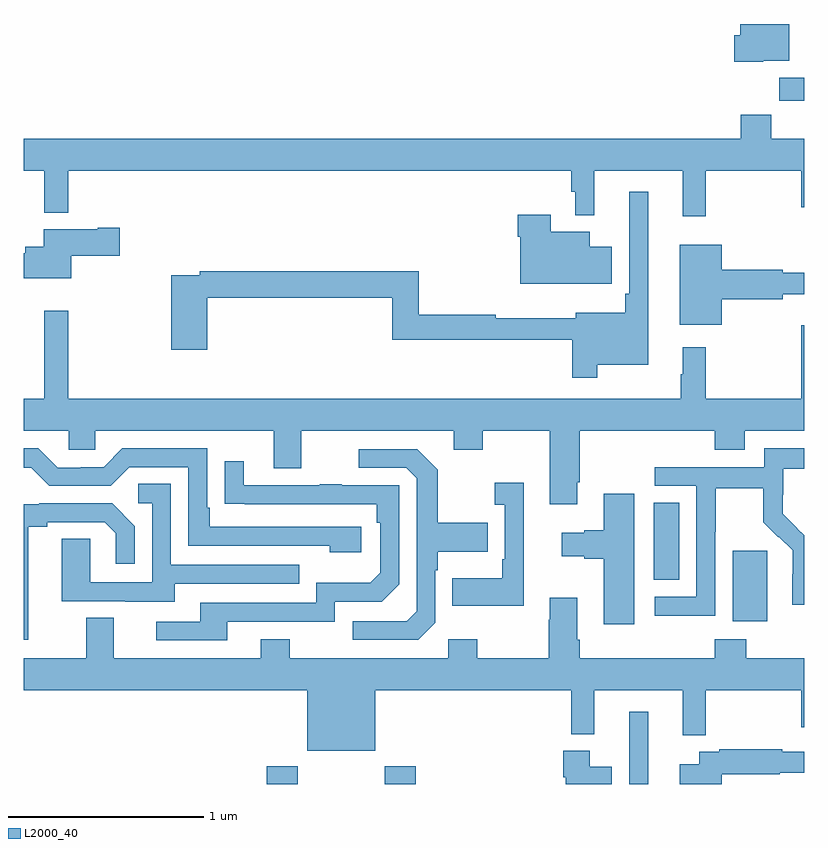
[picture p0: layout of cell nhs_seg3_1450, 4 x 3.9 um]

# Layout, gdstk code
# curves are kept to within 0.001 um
import gdstk
lib = gdstk.Library(unit=1e-6, precision=1e-09)
def R(c, l, rs):  # rectangles x0, y0, x1, y1
    for r in rs: c.add(gdstk.rectangle(r[:2], r[2:], *l))
def P(c, l, *ps):  # polygons
    for p in ps: c.add(gdstk.Polygon(p, *l))
L2000_40 = (2000, 40)

nhs_seg3_1450 = lib.new_cell('nhs_seg3_1450')
R(nhs_seg3_1450, L2000_40, [(186.245,736.4,186.405,736.492), (186.85,736.4,187.01,736.492), (188.103,736.4,188.2,736.771), (188.633,737.234,188.812,737.595), (188.228,737.446,188.359,737.843), (188.872,739.902,189,740.02)])
P(nhs_seg3_1450, L2000_40, [(188.79,740.108),(188.923,740.108),(188.923,740.296),(188.672,740.296),(188.672,740.238),(188.642,740.238),(188.642,740.102),(188.79,740.102)],
  [(188.495,739.544),(188.984,739.544),(188.984,739.356),(189,739.356),(189,739.708),(188.831,739.708),(188.831,739.832),(188.675,739.832),(188.675,739.708),(185,739.708),(185,739.544),(185.105,739.544),(185.105,739.328),(185.227,739.328),(185.227,739.544),(187.807,739.544),(187.807,739.437),(187.827,739.437),(187.827,739.316),(187.925,739.316),(187.925,739.544),(188.378,739.544),(188.378,739.311),(188.495,739.311)],
  [(187.939,738.548),(188.2,738.548),(188.2,739.435),(188.103,739.435),(188.103,738.913),(188.083,738.913),(188.083,738.817),(187.829,738.817),(187.829,738.787),(187.418,738.787),(187.418,738.806),(187.025,738.806),(187.025,739.028),(185.902,739.028),(185.902,739.008),(185.756,739.008),(185.756,738.627),(185.939,738.627),(185.939,738.892),(186.889,738.892),(186.889,738.678),(187.81,738.678),(187.81,738.483),(187.939,738.483)],
  [(188.014,739.153),(187.9,739.153),(187.9,739.231),(187.702,739.231),(187.702,739.318),(187.532,739.318),(187.532,739.205),(187.544,739.205),(187.544,738.965),(188.014,738.965)],
  [(185.242,739.109),(185.491,739.109),(185.491,739.251),(185.378,739.251),(185.378,739.243),(185.102,739.243),(185.102,739.153),(185.006,739.153),(185.006,739.121),(185,739.121),(185,738.992),(185.242,738.992)],
  [(188.578,738.884),(188.89,738.884),(188.89,738.911),(189,738.911),(189,739.021),(188.89,739.021),(188.89,739.036),(188.578,739.036),(188.578,739.165),(188.363,739.165),(188.363,738.755),(188.578,738.755)],
  [(187.837,737.947),(187.85,737.947),(187.85,738.212),(188.543,738.212),(188.543,738.113),(188.695,738.113),(188.695,738.212),(189,738.212),(189,738.751),(188.984,738.751),(188.984,738.376),(188.495,738.376),(188.495,738.64),(188.378,738.64),(188.378,738.5),(188.367,738.5),(188.367,738.376),(185.227,738.376),(185.227,738.826),(185.105,738.826),(185.105,738.376),(185,738.376),(185,738.212),(185.229,738.212),(185.229,738.114),(185.367,738.114),(185.367,738.212),(186.281,738.212),(186.281,738.018),(186.421,738.018),(186.421,738.212),(187.205,738.212),(187.205,738.113),(187.353,738.113),(187.353,738.212),(187.697,738.212),(187.697,737.835),(187.837,737.835)],
  [(186.73,737.718),(185.953,737.718),(185.953,737.815),(185.94,737.815),(185.94,738.12),(185.505,738.12),(185.409,738.024),(185.291,738.024),(185.291,738.021),(185.175,738.021),(185.075,738.121),(185,738.121),(185,738.021),(185.037,738.021),(185.13,737.928),(185.445,737.928),(185.541,738.024),(185.844,738.024),(185.844,737.622),(186.569,737.622),(186.569,737.588),(186.73,737.588)],
  [(188.544,737.692),(188.547,737.692),(188.547,737.916),(188.791,737.916),(188.791,737.741),(188.868,737.664),(188.871,737.667),(188.942,737.597),(188.942,737.474),(188.94,737.474),(188.94,737.32),(189,737.32),(189,737.674),(188.89,737.786),(188.89,737.883),(188.892,737.883),(188.892,738.017),(189,738.017),(189,738.121),(188.796,738.121),(188.796,738.024),(188.235,738.024),(188.235,737.928),(188.448,737.928),(188.448,737.361),(188.235,737.361),(188.235,737.263),(188.544,737.263)],
  [(187.11,737.226),(187.11,737.495),(187.123,737.495),(187.123,737.591),(187.379,737.591),(187.379,737.739),(187.123,737.739),(187.123,738.011),(187.017,738.117),(186.717,738.117),(186.717,738.021),(186.96,738.021),(187.014,737.967),(187.014,737.286),(186.963,737.235),(186.687,737.235),(186.687,737.139),(187.023,737.139)],
  [(186.043,737.232),(186.594,737.232),(186.594,737.334),(186.834,737.334),(186.924,737.424),(186.924,737.931),(186.629,737.931),(186.629,737.936),(186.517,737.936),(186.517,737.931),(186.127,737.931),(186.127,738.055),(186.031,738.055),(186.031,737.836),(186.808,737.835),(186.808,737.738),(186.828,737.738),(186.828,737.484),(186.775,737.431),(186.498,737.431),(186.498,737.328),(185.903,737.328),(185.903,737.232),(185.679,737.232),(185.679,737.136),(186.043,737.136)],
  [(187.562,737.944),(187.413,737.944),(187.413,737.831),(187.464,737.831),(187.464,737.551),(187.452,737.551),(187.452,737.455),(187.195,737.455),(187.195,737.315),(187.562,737.315)],
  [(185.773,737.427),(186.413,737.427),(186.413,737.523),(185.754,737.523),(185.754,737.939),(185.586,737.939),(185.586,737.838),(185.658,737.838),(185.658,737.433),(185.34,737.433),(185.34,737.657),(185.195,737.657),(185.195,737.337),(185.519,737.337),(185.519,737.333),(185.773,737.333)],
  [(188.128,737.887),(187.973,737.887),(187.973,737.702),(187.874,737.702),(187.874,737.689),(187.758,737.689),(187.758,737.567),(187.874,737.567),(187.874,737.555),(187.973,737.555),(187.973,737.22),(188.128,737.22)],
  [(185.023,737.72),(185.119,737.72),(185.119,737.742),(185.414,737.742),(185.471,737.685),(185.471,737.529),(185.568,737.529),(185.568,737.722),(185.452,737.838),(185.08,737.838),(185.08,737.835),(185,737.835),(185,737.139),(185.023,737.139)],
  [(186.802,736.88),(187.807,736.88),(187.807,736.655),(187.925,736.655),(187.925,736.88),(188.378,736.88),(188.378,736.651),(188.495,736.651),(188.495,736.88),(188.984,736.88),(188.984,736.692),(189,736.692),(189,737.044),(188.703,737.044),(188.703,737.143),(188.543,737.143),(188.543,737.044),(187.85,737.044),(187.85,737.14),(187.837,737.14),(187.837,737.356),(187.697,737.356),(187.697,737.243),(187.69,737.243),(187.69,737.044),(187.323,737.044),(187.323,737.143),(187.176,737.143),(187.176,737.044),(186.363,737.044),(186.363,737.143),(186.215,737.143),(186.215,737.044),(185.461,737.044),(185.461,737.252),(185.321,737.252),(185.321,737.044),(185,737.044),(185,736.88),(186.452,736.88),(186.452,736.571),(186.802,736.571)],
  [(188.578,736.45),(188.874,736.45),(188.874,736.458),(189,736.458),(189,736.566),(188.888,736.566),(188.888,736.579),(188.566,736.579),(188.566,736.566),(188.462,736.566),(188.462,736.501),(188.363,736.501),(188.363,736.4),(188.578,736.4)],
  [(188.014,736.489),(187.9,736.489),(187.9,736.57),(187.766,736.57),(187.766,736.434),(187.778,736.434),(187.778,736.4),(188.014,736.4)])

lib.write_gds('nhs_seg3_1450.gds')
